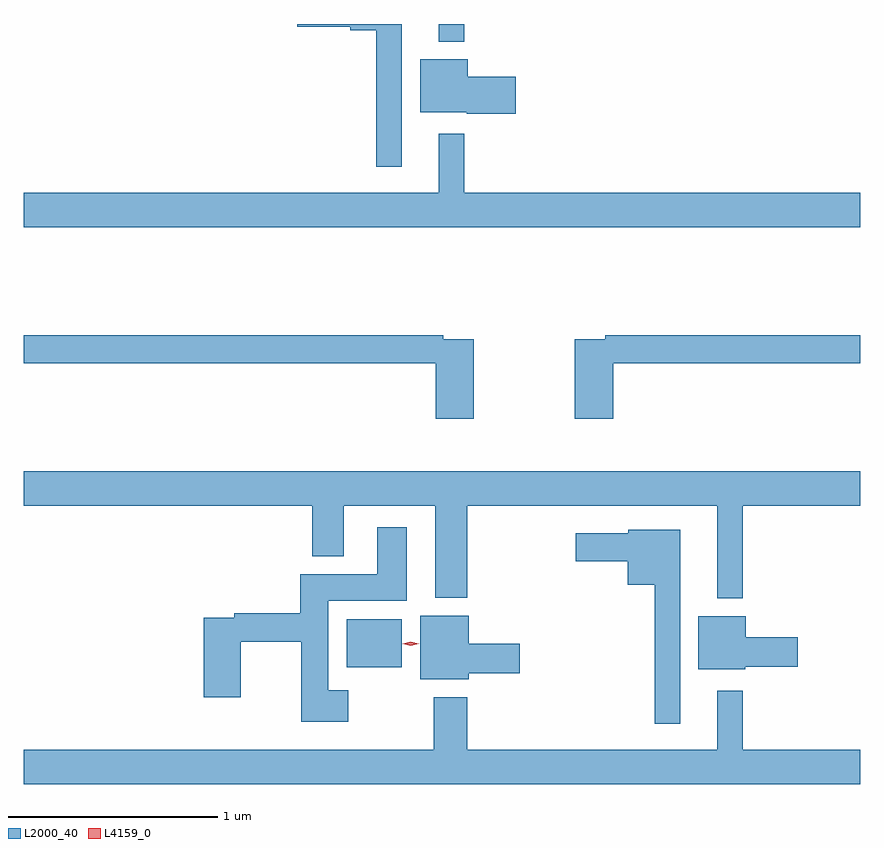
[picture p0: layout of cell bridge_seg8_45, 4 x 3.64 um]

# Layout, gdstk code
import gdstk
lib = gdstk.Library(unit=1e-6, precision=1e-09)
def R(c, l, rs):  # rectangles x0, y0, x1, y1
    for r in rs: c.add(gdstk.rectangle(r[:2], r[2:], *l))
def P(c, l, *ps):  # polygons
    for p in ps: c.add(gdstk.Polygon(p, *l))
L2000_40 = (2000, 40)
L4159_0 = (4159, 0)

bridge_seg8_45 = lib.new_cell('bridge_seg8_45')
R(bridge_seg8_45, L2000_40, [(876.194,1113.062,876.457,1113.292), (876.635,1116.056,876.757,1116.14)])
P(bridge_seg8_45, L2000_40, [(876.457,1116.14),(875.958,1116.14),(875.958,1116.128),(876.21,1116.128),(876.21,1116.11),(876.336,1116.11),(876.336,1115.457),(876.457,1115.457)],
  [(877.003,1115.888),(876.772,1115.888),(876.772,1115.971),(876.545,1115.971),(876.545,1115.717),(876.768,1115.717),(876.768,1115.71),(877.003,1115.71)],
  [(878.65,1115.332),(876.757,1115.332),(876.757,1115.614),(876.635,1115.614),(876.635,1115.332),(874.65,1115.332),(874.65,1115.168),(878.65,1115.168)],
  [(877.469,1114.516),(878.65,1114.516),(878.65,1114.652),(877.432,1114.652),(877.432,1114.632),(877.286,1114.632),(877.286,1114.251),(877.469,1114.251)],
  [(876.803,1114.632),(876.656,1114.632),(876.656,1114.652),(874.65,1114.652),(874.65,1114.516),(876.62,1114.516),(876.62,1114.251),(876.803,1114.251)],
  [(878.089,1113.836),(878.65,1113.836),(878.65,1114),(874.65,1114),(874.65,1113.836),(876.029,1113.836),(876.029,1113.593),(876.181,1113.593),(876.181,1113.836),(876.617,1113.836),(876.617,1113.395),(876.77,1113.395),(876.77,1113.836),(877.967,1113.836),(877.967,1113.392),(878.089,1113.392)],
  [(876.202,1112.953),(876.106,1112.953),(876.106,1113.38),(876.481,1113.38),(876.481,1113.733),(876.341,1113.733),(876.341,1113.508),(875.972,1113.508),(875.972,1113.32),(875.656,1113.32),(875.656,1113.3),(875.51,1113.3),(875.51,1112.919),(875.688,1112.919),(875.688,1113.184),(875.977,1113.184),(875.977,1112.801),(876.202,1112.801)],
  [(877.789,1113.721),(877.542,1113.721),(877.542,1113.703),(877.29,1113.703),(877.29,1113.569),(877.538,1113.569),(877.538,1113.458),(877.668,1113.458),(877.668,1112.793),(877.789,1112.793)],
  [(876.778,1113.034),(877.021,1113.034),(877.021,1113.176),(876.778,1113.176),(876.778,1113.31),(876.545,1113.31),(876.545,1113.005),(876.778,1113.005)],
  [(878.1,1113.064),(878.353,1113.064),(878.353,1113.206),(878.104,1113.206),(878.104,1113.307),(877.877,1113.307),(877.877,1113.053),(878.1,1113.053)],
  [(878.65,1112.668),(878.089,1112.668),(878.089,1112.95),(877.967,1112.95),(877.967,1112.668),(876.77,1112.668),(876.77,1112.92),(876.61,1112.92),(876.61,1112.668),(874.65,1112.668),(874.65,1112.504),(878.65,1112.504)])
P(bridge_seg8_45, L4159_0, [(876.5,1113.165),(876.462,1113.175),(876.462,1113.175),(876.462,1113.175),(876.5,1113.185),(876.539,1113.175),(876.539,1113.175),(876.539,1113.175)])

lib.write_gds('bridge_seg8_45.gds')
